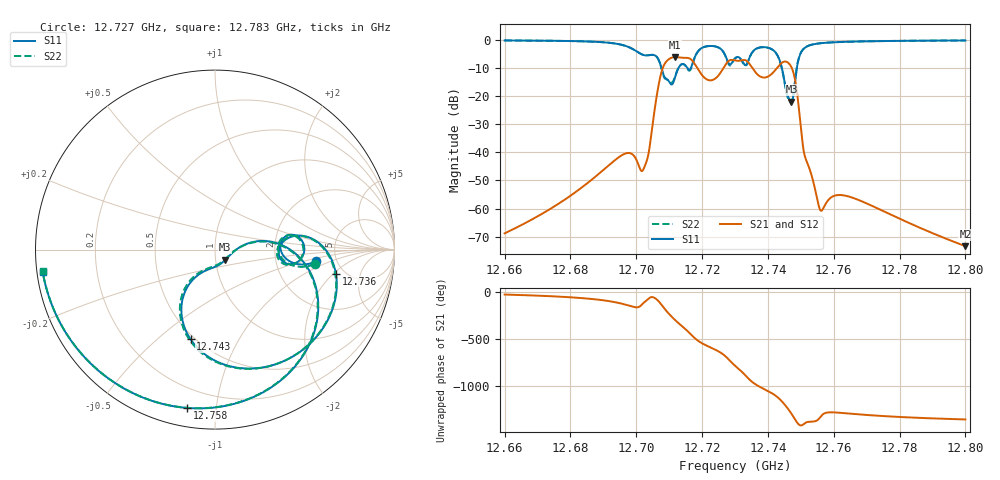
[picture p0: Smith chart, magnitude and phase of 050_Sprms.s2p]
! TOUCHSTONE file generated by CST MICROWAVE STUDIO
! Date and time: Wed Jul 31 13:12:04 2024
! Project name: WaveGuide_BPF-Ver4.1_U-shape_Ku_T3_C4_CWA_2.cst
! Parameters = {cavity_h=16; cavity_l0=10; cavity_l1=15.1814; cavity_l2=16.8836; cavity_l3=17.0948; cavity_l4=17.2883; cavity_l5=17.141; cavity_l6=17.6021; cavity_r=2.5; cavity_screw_l=0.5; cavity_screw_r=1.5; cavity_w=8; iris_h00=0; iris_h01=8.8376; iris_h112=0; iris_h12=5.5944; iris_h211=3.668; ir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
! Header version: 2018
! Port assignment regex: !\s*Touchstone port\s*([0-9]+)\s*=\s*(CST MWS port|CST DS port)\s*([0-9]+|Zmin|Zmax)\s*\(\"(.*)\"\)(\s*mode\s*([0-9]+))?.*
! Touchstone port assignment:
! Touchstone port 1 = CST MWS port 1 ("")
! Touchstone port 2 = CST MWS port 2 ("")
# GHz S RI R 50
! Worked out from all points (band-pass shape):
!   5001 points, 12.66 GHz to 12.8 GHz, reference 50 ohm
!   highest |S21| = -6.10 dB at 12.712 GHz (marker M1); lowest = -73.4 dB at 12.8 GHz (marker M2)
!   |S21| within 3 dB of the highest: 12.70836 GHz to 12.71807 GHz (9.711 MHz wide, 0.0764 % of centre); 12.72697 GHz to 12.73475 GHz (7.789 MHz wide, 0.0612 % of centre) (the widest 2 of 3)
!   lowest |S11| = -21.9 dB at 12.747 GHz (marker M3), VSWR 1.17, Z = 55.6 - j6.38 ohm
!   |S11| at or under -10 dB: 12.70766 GHz to 12.71283 GHz (5.165 MHz wide, 0.0406 % of centre); 12.71555 GHz to 12.71659 GHz (1.038 MHz wide, 0.00816 % of centre); 12.74424 GHz to 12.74878 GHz (4.542 MHz wide, 0.0356 % of centre)
!   |S22| runs from -22.3 to -0.2 dB; largest |S21 - S12| = 1e-09
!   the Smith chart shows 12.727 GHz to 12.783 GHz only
!   S11 on the Smith chart (normalised r, x): 12.727 GHz: 3.49, -0.67; 12.736 GHz: 4.25, -2.15; 12.743 GHz: 0.48, -0.65; 12.758 GHz: 0.09, -0.84; 12.783 GHz: 0.02, -0.07
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12.66  0.3322 0.9224  0.000331 -0.00015  0.000331 -0.00015  0.3382 0.9202
12.68335  0.7726 0.5495  0.0011 -0.00208  0.0011 -0.00208  0.778 0.5414
12.69388  0.8479 -0.1416  -0.0024 -0.00716  -0.0024 -0.00716  0.8441 -0.1568
12.69928  0.1729 -0.6495  -0.00804 -0.00337  -0.00804 -0.00337  0.152 -0.6531
12.70284  -0.5265 -0.0681  -0.00065 -0.00618  -0.00065 -0.00618  -0.5315 -0.0509
12.70668  0.1464 0.4359  -0.00538 -0.1457  -0.00538 -0.1457  0.1549 0.4292
12.7092  0.0929 0.1802  -0.3891 0.1544  -0.3891 0.1544  0.0823 0.1822
12.71183  -0.049 0.215  0.2334 0.4371  0.2334 0.4371  -0.0418 0.2264
12.71631  0.0139 0.2985  0.0765 -0.4589  0.0765 -0.4589  0.0183 0.2859
12.72051  0.3433 0.6645  -0.2109 0.0588  -0.2109 0.0588  0.3467 0.66
12.72681  0.5647 -0.065  0.2421 0.2373  0.2421 0.2373  0.5557 -0.0801
12.73  0.4676 0.0683  0.1782 -0.3926  0.1782 -0.3926  0.4612 0.0657
12.73314  0.3546 -0.0151  -0.4273 -0.0901  -0.4273 -0.0901  0.345 -0.0181
12.73622  0.6735 -0.1334  -0.0269 0.2644  -0.0269 0.2644  0.6698 -0.1366
12.74302  -0.1361 -0.4997  0.234 -0.2347  0.234 -0.2347  -0.1485 -0.4928
12.74716  0.0568 -0.0569  -0.2533 0.205  -0.2533 0.205  0.0597 -0.0492
12.74971  0.525 -0.1162  0.0387 0.0131  0.0387 0.0131  0.5305 -0.1344
12.75335  0.3289 -0.757  0.00208 0.00313  0.00208 0.00313  0.3141 -0.7649
12.75803  -0.1551 -0.8823  -0.00121 0.000594  -0.00121 0.000594  -0.1703 -0.8802
12.77668  -0.9064 -0.3147  -0.000314 0.000753  -0.000314 0.000753  -0.9103 -0.3041
12.78326  -0.9595 -0.1271  -0.000103 0.000533  -0.000103 0.000533  -0.961 -0.117
12.8  -0.9563 0.214  3.67e-05 0.000211  3.67e-05 0.000211  -0.9545 0.2223
